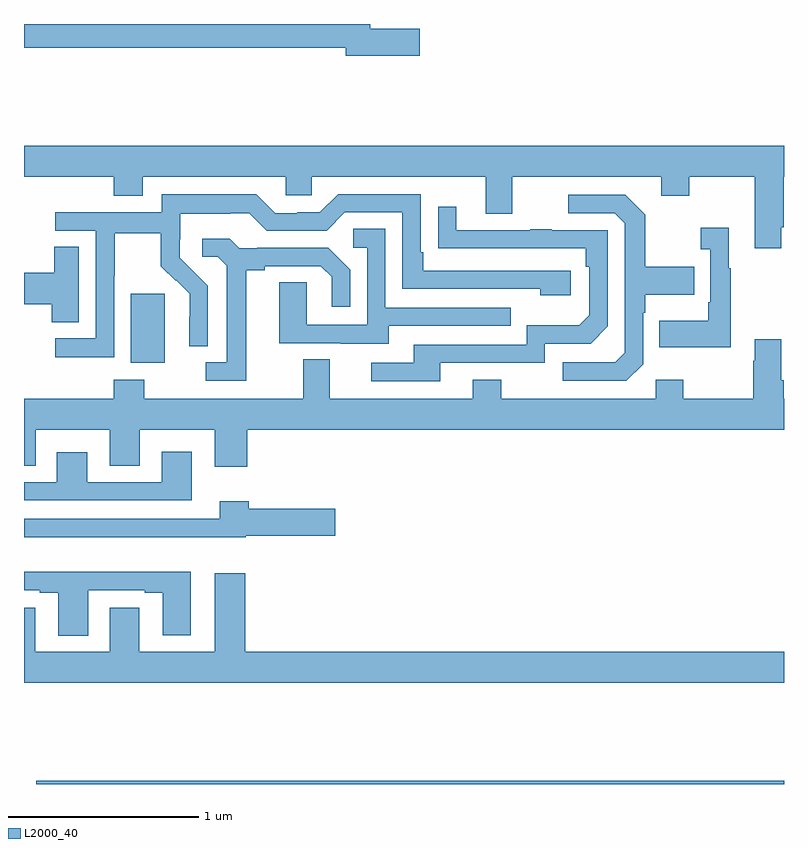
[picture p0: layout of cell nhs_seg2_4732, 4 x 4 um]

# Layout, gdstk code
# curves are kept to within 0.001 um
import gdstk
lib = gdstk.Library(unit=1e-6, precision=1e-09)
def R(c, l, rs):  # rectangles x0, y0, x1, y1
    for r in rs: c.add(gdstk.rectangle(r[:2], r[2:], *l))
def P(c, l, *ps):  # polygons
    for p in ps: c.add(gdstk.Polygon(p, *l))
L2000_40 = (2000, 40)

nhs_seg2_4732 = lib.new_cell('nhs_seg2_4732')
R(nhs_seg2_4732, L2000_40, [(369.064,617.8,373,617.816), (369.563,620.018,369.742,620.379)])
P(nhs_seg2_4732, L2000_40, [(371.083,621.776),(370.822,621.776),(370.822,621.8),(369,621.8),(369,621.676),(370.694,621.676),(370.694,621.634),(371.083,621.634)],
  [(372.985,620.731),(372.998,620.731),(372.998,620.996),(373,620.996),(373,621.16),(369,621.16),(369,620.996),(369.473,620.996),(369.473,620.897),(369.625,620.897),(369.625,620.996),(370.377,620.996),(370.377,620.898),(370.515,620.898),(370.515,620.996),(371.429,620.996),(371.429,620.802),(371.569,620.802),(371.569,620.996),(372.353,620.996),(372.353,620.897),(372.501,620.897),(372.501,620.996),(372.845,620.996),(372.845,620.619),(372.985,620.619)],
  [(369.474,620.476),(369.477,620.476),(369.477,620.7),(369.721,620.7),(369.721,620.525),(369.798,620.448),(369.801,620.451),(369.872,620.381),(369.872,620.258),(369.87,620.258),(369.87,620.104),(369.966,620.104),(369.966,620.422),(369.82,620.57),(369.82,620.667),(369.822,620.667),(369.822,620.801),(370.085,620.801),(370.085,620.805),(370.185,620.805),(370.278,620.712),(370.593,620.712),(370.689,620.808),(370.992,620.808),(370.992,620.406),(371.717,620.406),(371.717,620.372),(371.878,620.372),(371.878,620.502),(371.101,620.502),(371.101,620.599),(371.088,620.599),(371.088,620.904),(370.653,620.904),(370.557,620.808),(370.439,620.808),(370.439,620.805),(370.323,620.805),(370.223,620.905),(369.726,620.905),(369.726,620.808),(369.165,620.808),(369.165,620.712),(369.378,620.712),(369.378,620.145),(369.165,620.145),(369.165,620.047),(369.474,620.047)],
  [(372.258,620.01),(372.258,620.279),(372.271,620.279),(372.271,620.375),(372.527,620.375),(372.527,620.523),(372.271,620.523),(372.271,620.795),(372.165,620.901),(371.865,620.901),(371.865,620.805),(372.108,620.805),(372.162,620.751),(372.162,620.07),(372.111,620.019),(371.835,620.019),(371.835,619.923),(372.171,619.923)],
  [(371.191,620.016),(371.742,620.016),(371.742,620.118),(371.982,620.118),(372.072,620.208),(372.072,620.715),(371.777,620.715),(371.777,620.72),(371.665,620.72),(371.665,620.715),(371.275,620.715),(371.275,620.839),(371.179,620.839),(371.179,620.62),(371.956,620.619),(371.956,620.522),(371.976,620.522),(371.976,620.268),(371.923,620.215),(371.646,620.215),(371.646,620.112),(371.051,620.112),(371.051,620.016),(370.827,620.016),(370.827,619.92),(371.191,619.92)],
  [(372.721,620.515),(372.709,620.515),(372.709,620.728),(372.561,620.728),(372.561,620.615),(372.612,620.615),(372.612,620.335),(372.6,620.335),(372.6,620.239),(372.343,620.239),(372.343,620.099),(372.721,620.099)],
  [(370.921,620.211),(371.561,620.211),(371.561,620.307),(370.902,620.307),(370.902,620.723),(370.734,620.723),(370.734,620.622),(370.806,620.622),(370.806,620.217),(370.488,620.217),(370.488,620.441),(370.343,620.441),(370.343,620.121),(370.667,620.121),(370.667,620.117),(370.921,620.117)],
  [(370.171,620.504),(370.267,620.504),(370.267,620.526),(370.562,620.526),(370.619,620.469),(370.619,620.313),(370.716,620.313),(370.716,620.506),(370.6,620.622),(370.228,620.622),(370.228,620.619),(370.134,620.619),(370.082,620.671),(369.939,620.671),(369.939,620.574),(370.02,620.574),(370.067,620.527),(370.067,620.019),(369.957,620.019),(369.957,619.923),(370.171,619.923)],
  [(369.289,620.627),(369.158,620.627),(369.158,620.491),(369,620.491),(369,620.326),(369.146,620.326),(369.146,620.23),(369.289,620.23)],
  [(370.175,619.664),(373,619.664),(373,619.828),(372.998,619.828),(372.998,619.924),(372.985,619.924),(372.985,620.14),(372.845,620.14),(372.845,620.027),(372.838,620.027),(372.838,619.828),(372.471,619.828),(372.471,619.927),(372.324,619.927),(372.324,619.828),(371.511,619.828),(371.511,619.927),(371.363,619.927),(371.363,619.828),(370.609,619.828),(370.609,620.036),(370.469,620.036),(370.469,619.828),(369.633,619.828),(369.633,619.927),(369.473,619.927),(369.473,619.828),(369,619.828),(369,619.474),(369.061,619.474),(369.061,619.664),(369.452,619.664),(369.452,619.474),(369.61,619.474),(369.61,619.664),(370.004,619.664),(370.004,619.47),(370.175,619.47)],
  [(369.883,619.549),(369.725,619.549),(369.725,619.389),(369.334,619.389),(369.334,619.546),(369.173,619.546),(369.173,619.389),(369,619.389),(369,619.293),(369.883,619.293)],
  [(370.167,619.106),(370.639,619.106),(370.639,619.248),(370.184,619.248),(370.184,619.288),(370.031,619.288),(370.031,619.197),(369,619.197),(369,619.1),(370.167,619.1)],
  [(369.337,618.819),(369.635,618.819),(369.635,618.807),(369.731,618.807),(369.731,618.582),(369.877,618.582),(369.877,618.917),(369,618.917),(369,618.819),(369.083,618.819),(369.083,618.807),(369.179,618.807),(369.179,618.581),(369.337,618.581)],
  [(373,618.496),(370.165,618.496),(370.165,618.91),(370.004,618.91),(370.004,618.496),(369.607,618.496),(369.607,618.727),(369.452,618.727),(369.452,618.496),(369.058,618.496),(369.058,618.727),(369,618.727),(369,618.332),(373,618.332)])

lib.write_gds('nhs_seg2_4732.gds')
